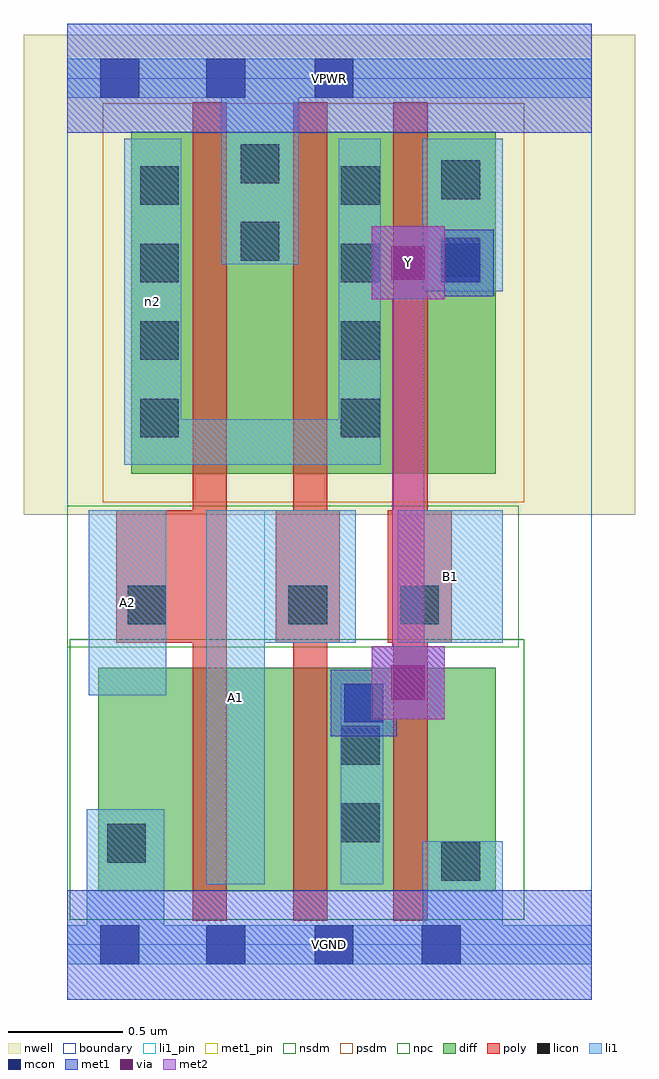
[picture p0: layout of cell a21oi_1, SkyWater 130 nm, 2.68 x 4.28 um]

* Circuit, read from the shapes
.subckt a21oi_1 A1 A2 B1 VGND VPWR Y n2
XM1 n1 A2 VGND VSUBS sky130_fd_pr__nfet_01v8 w=0.98 l=0.15
XM2 Y A1 n1 VSUBS sky130_fd_pr__nfet_01v8 w=0.98 l=0.15
XM3 VGND B1 Y VSUBS sky130_fd_pr__nfet_01v8 w=0.98 l=0.15
XM4 VPWR A2 n2 n3 sky130_fd_pr__pfet_01v8 w=1.5 l=0.15
XM5 n2 A1 VPWR n3 sky130_fd_pr__pfet_01v8 w=1.5 l=0.15
XM6 Y B1 n2 n3 sky130_fd_pr__pfet_01v8 w=1.5 l=0.15
.ends

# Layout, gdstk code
import gdstk
lib = gdstk.Library(unit=1e-6, precision=1e-09)
def R(c, l, rs):  # rectangles x0, y0, x1, y1
    for r in rs: c.add(gdstk.rectangle(r[:2], r[2:], *l))
def A(c, l, x, y, w, h, nx, ny, dx, dy):  # array of equal rectangles
    R(c, l, [(x+i*dx, y+j*dy, x+i*dx+w, y+j*dy+h) for i in range(nx) for j in range(ny)])
nwell = (64, 20)
diff = (65, 20)
poly = (66, 20)
licon = (66, 44)
li1_pin = (67, 16)
li1 = (67, 20)
mcon = (67, 44)
met1_pin = (68, 16)
met1 = (68, 20)
via = (68, 44)
met2 = (69, 20)
nsdm = (93, 44)
psdm = (94, 20)
npc = (95, 20)
boundary = (235, 4)

a21oi_1 = lib.new_cell('a21oi_1')
R(a21oi_1, nwell, [(-0.19,1.885,2.49,3.99), (0,1.885,2.3,3.99)])
R(a21oi_1, diff, [(0.135,0.235,1.88,1.215), (0.28,2.065,1.88,3.565)])
A(a21oi_1, poly, 0.55, 0.105, 0.15, 3.59, 3, 1, 0.44, 0)
R(a21oi_1, poly, [(0.215,1.325,0.7,1.905), (0.915,1.325,1.195,1.905), (1.405,1.325,1.685,1.905)])
A(a21oi_1, licon, 0.32, 2.225, 0.17, 0.17, 1, 4, 0, 0.34)
A(a21oi_1, licon, 1.2, 2.225, 0.17, 0.17, 1, 4, 0, 0.34)
R(a21oi_1, licon, [(1.64,0.28,1.81,0.45), (0.175,0.36,0.345,0.53), (1.2,0.45,1.37,0.62), (1.2,0.79,1.37,0.96), (0.265,1.405,0.435,1.575), (0.97,1.405,1.14,1.575), (1.46,1.405,1.63,1.575), (1.64,2.93,1.81,3.1), (0.76,3,0.93,3.17), (1.64,3.27,1.81,3.44), (0.76,3.34,0.93,3.51)])
R(a21oi_1, li1_pin, [(0.61,0.265,0.865,1.905), (0.095,1.095,0.435,1.905), (1.45,1.325,1.91,1.905)])
R(a21oi_1, li1, [(0,-0.085,2.3,0.085), (0.085,-0.085,0.425,0.595), (1.56,-0.085,1.91,0.455), (0.61,0.265,0.865,1.905), (1.2,0.265,1.385,1.145), (0.095,1.095,0.435,1.905), (0.61,1.325,1.265,1.905), (1.45,1.325,1.91,1.905), (0.25,2.105,0.5,3.535), (0.25,2.105,1.375,2.305), (1.19,2.105,1.375,3.535), (1.56,2.865,1.91,3.535), (0.675,2.985,1.015,3.885), (0,3.715,2.3,3.885)])
R(a21oi_1, mcon, [(0.145,-0.085,0.315,0.085), (0.61,-0.085,0.78,0.085), (1.085,-0.085,1.255,0.085), (1.555,-0.085,1.725,0.085), (1.215,0.975,1.385,1.145), (1.64,2.905,1.81,3.075), (0.145,3.715,0.315,3.885), (0.61,3.715,0.78,3.885), (1.085,3.715,1.255,3.885)])
R(a21oi_1, met1_pin, [(0,-0.24,2.3,0.24), (1.335,2.83,1.655,3.15), (0,3.56,2.3,4.04)])
R(a21oi_1, met1, [(0,-0.24,2.3,0.24), (1.155,0.915,1.445,1.205), (1.23,0.99,1.565,1.13), (1.335,0.99,1.655,1.31), (1.425,0.99,1.565,1.22), (1.335,2.83,1.655,3.15), (1.58,2.845,1.87,3.135), (1.425,2.92,1.795,3.06), (0,3.56,2.3,4.04)])
R(a21oi_1, via, [(1.42,1.075,1.57,1.225), (1.42,2.915,1.57,3.065)])
R(a21oi_1, met2, [(1.335,0.99,1.655,1.31), (1.425,1.08,1.565,3.06), (1.335,2.83,1.655,3.15)])
R(a21oi_1, nsdm, [(0.01,0.11,2.005,1.34)])
R(a21oi_1, psdm, [(0.155,1.94,2.005,3.69)])
R(a21oi_1, npc, [(0,1.305,1.98,1.925)])
R(a21oi_1, boundary, [(0,0,2.3,3.8)])
a21oi_1.add(gdstk.Label('A1', (0.737,1.085), layer=67, texttype=5))
a21oi_1.add(gdstk.Label('A2', (0.265,1.5), layer=67, texttype=5))
a21oi_1.add(gdstk.Label('B1', (1.68,1.615), layer=67, texttype=5))
a21oi_1.add(gdstk.Label('n2', (0.375,2.82), layer=67, texttype=5))
a21oi_1.add(gdstk.Label('Y', (1.495,2.99), layer=68, texttype=5))
a21oi_1.add(gdstk.Label('VPWR', (1.15,3.8), layer=68, texttype=5))
a21oi_1.add(gdstk.Label('VGND', (1.15,0), layer=68, texttype=5))
a21oi_1.add(gdstk.Label('A1', (0.737,1.085), layer=67, texttype=16))
a21oi_1.add(gdstk.Label('A2', (0.265,1.5), layer=67, texttype=16))
a21oi_1.add(gdstk.Label('B1', (1.68,1.615), layer=67, texttype=16))
a21oi_1.add(gdstk.Label('Y', (1.495,2.99), layer=68, texttype=16))
a21oi_1.add(gdstk.Label('VPWR', (1.15,3.8), layer=68, texttype=16))
a21oi_1.add(gdstk.Label('VGND', (1.15,0), layer=68, texttype=16))

lib.write_gds('a21oi_1.gds')
